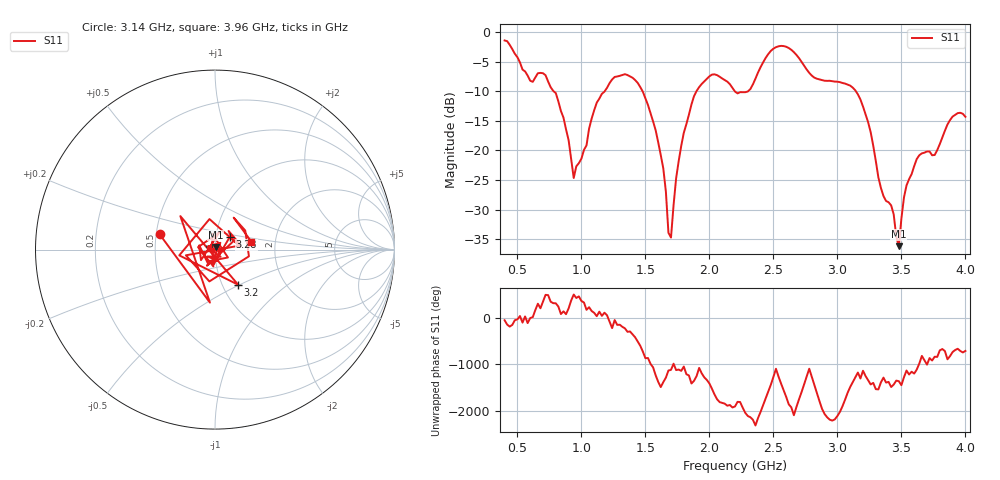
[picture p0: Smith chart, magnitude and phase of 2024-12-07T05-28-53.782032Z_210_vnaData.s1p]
!Created with skrf (http://scikit-rf.org).
# Hz S RI R 50.0
!freq ReS11 ImS11
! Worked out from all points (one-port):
!   181 points, 400 MHz to 4 GHz, reference 50 ohm
!   lowest |S11| = -36.2 dB at 3.48 GHz (marker M1), VSWR 1.03, Z = 50.3 + j1.52 ohm
!   |S11| at or under -10 dB: 781.6 MHz to 1.183 GHz (401.2 MHz wide, 40.8 % of centre); 1.477 GHz to 1.899 GHz (422.1 MHz wide, 25 % of centre); 3.144 GHz to end of sweep (the widest 3 of 4)
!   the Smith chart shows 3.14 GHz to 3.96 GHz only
!   S11 on the Smith chart (normalised r, x): 3.14 GHz: 0.52, +0.10; 3.2 GHz: 1.19, -0.49; 3.28 GHz: 1.17, +0.17; 3.96 GHz: 1.50, +0.14
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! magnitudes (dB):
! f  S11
! 400 MHz  -1.4
! 600 MHz  -8.2
! 720 MHz  -7.3
! 860 MHz  -14.5
! 940 MHz  -24.7
! 1.12 GHz  -11.9
! 1.3 GHz  -7.4
! 1.52 GHz  -12.3
! 1.64 GHz  -23.1
! 1.68 GHz  -33.9
! 1.7 GHz  -34.7
! 1.76 GHz  -21.8
! 1.86 GHz  -12.2
! 1.94 GHz  -8.8
! 2.2 GHz  -10.1
! 2.32 GHz  -9.7
! 2.5 GHz  -2.8
! 2.66 GHz  -3.4
! 2.82 GHz  -7.7
! 3.1 GHz  -9.1
! 3.14 GHz  -9.9
! 3.2 GHz  -12.6
! 3.28 GHz  -19.2
! 3.48 GHz  -36.2
! 3.52 GHz  -28.0
! 3.56 GHz  -24.9
! 3.96 GHz  -13.7
! 4 GHz  -14.3
